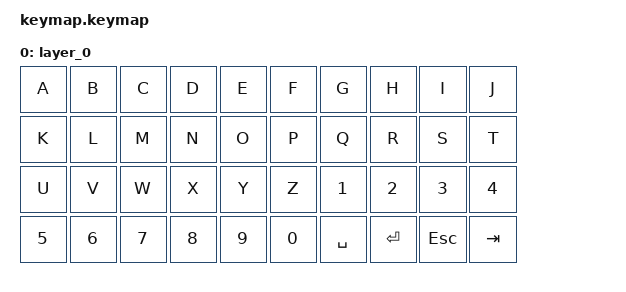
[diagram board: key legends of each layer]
#include <behaviors.dtsi>
#include <dt-bindings/zmk/keys.h>

/ {
    keymap {
        compatible = "zmk,keymap";

        layer_0 {
            bindings = <
                &kp A &kp B &kp C &kp D &kp E &kp F &kp G &kp H &kp I &kp J
                &kp K &kp L &kp M &kp N &kp O &kp P &kp Q &kp R &kp S &kp T
                &kp U &kp V &kp W &kp X &kp Y &kp Z &kp 1 &kp 2 &kp 3 &kp 4
                &kp 5 &kp 6 &kp 7 &kp 8 &kp 9 &kp 0 &kp SPACE &kp ENTER &kp ESC &kp TAB
            >;
        };
    };
};
